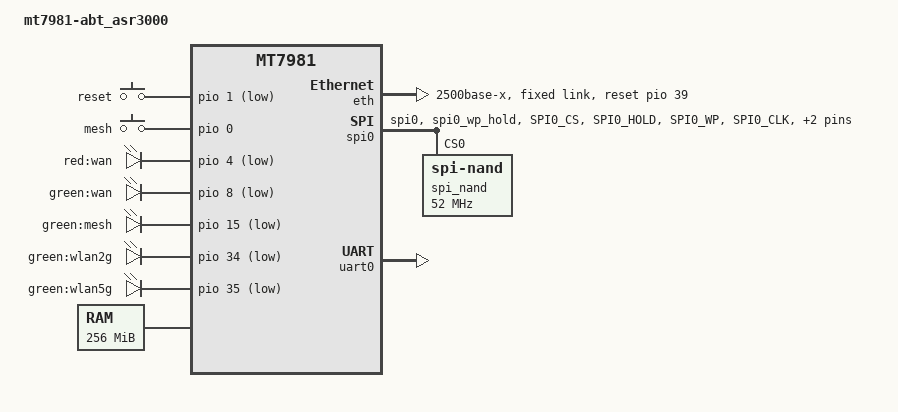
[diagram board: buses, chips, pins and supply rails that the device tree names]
// SPDX-License-Identifier: GPL-2.0-or-later OR MIT

/dts-v1/;
#include "mt7981.dtsi"
#include <dt-bindings/gpio/gpio.h>

/ {
	#address-cells = <1>;
	#size-cells = <1>;
	model = "mt7981-abt_asr3000";
	compatible = "mediatek,mt7981", "mediatek,mt7981-rfb";

	chosen {
		stdout-path = &uart0;
		tick-timer = &timer0;
	};

	config {
		bootcmd = "mtkboardboot";
		blink_led = "green:mesh";
		system_led = "green:mesh";
	};

	gpio-keys {
		compatible = "gpio-keys";

		button-reset {
			label = "reset";
			linux,code = <KEY_RESTART>;
			gpios = <&pio 1 GPIO_ACTIVE_LOW>;
		};

		button-mesh {
			label = "mesh";
			linux,code = <BTN_9>;
			gpios = <&pio 0 GPIO_ACTIVE_HIGH>;
		};
	};

	leds {
		compatible = "gpio-leds";

		led-0 {
			label = "red:wan";
			gpios = <&pio 4 GPIO_ACTIVE_LOW>;
		};

		led-1 {
			label = "green:wan";
			gpios = <&pio 8 GPIO_ACTIVE_LOW>;
		};

		mesh_led: led-2 {
			label = "green:mesh";
			gpios = <&pio 15 GPIO_ACTIVE_LOW>;
		};

		led-3 {
			label = "green:wlan2g";
			gpios = <&pio 34 GPIO_ACTIVE_LOW>;
		};

		led-4 {
			label = "green:wlan5g";
			gpios = <&pio 35 GPIO_ACTIVE_LOW>;
		};
	};

	memory@40000000 {
		device_type = "memory";
		reg = <0x40000000 0x10000000>;
	};

	bl2_verify {
		bl2_compatible = "spim-nand";
	};
};

&eth {
	status = "okay";
	mediatek,gmac-id = <0>;
	phy-mode = "2500base-x";
	mediatek,switch = "auto";
	reset-gpios = <&pio 39 GPIO_ACTIVE_HIGH>;

	fixed-link {
		speed = <2500>;
		full-duplex;
	};
};

&pio {
	spi_flash_pins: spi0-pins-func-1 {
		mux {
			function = "flash";
			groups = "spi0", "spi0_wp_hold";
		};

		conf-pu {
			pins = "SPI0_CS", "SPI0_HOLD", "SPI0_WP";
			drive-strength = <MTK_DRIVE_4mA>;
			bias-pull-up = <MTK_PUPD_SET_R1R0_11>;
		};

		conf-pd {
			pins = "SPI0_CLK", "SPI0_MOSI", "SPI0_MISO";
			drive-strength = <MTK_DRIVE_4mA>;
			bias-pull-down = <MTK_PUPD_SET_R1R0_11>;
		};
	};
};

&spi0 {
	#address-cells = <1>;
	#size-cells = <0>;
	pinctrl-names = "default";
	pinctrl-0 = <&spi_flash_pins>;
	status = "okay";
	must_tx;
	enhance_timing;
	dma_ext;
	ipm_design;
	support_quad;
	tick_dly = <2>;
	sample_sel = <0>;

	spi_nand@0 {
		compatible = "spi-nand";
		reg = <0>;
		spi-max-frequency = <52000000>;
	};
};

&uart0 {
	status = "okay";
};

&watchdog {
	status = "disabled";
};
